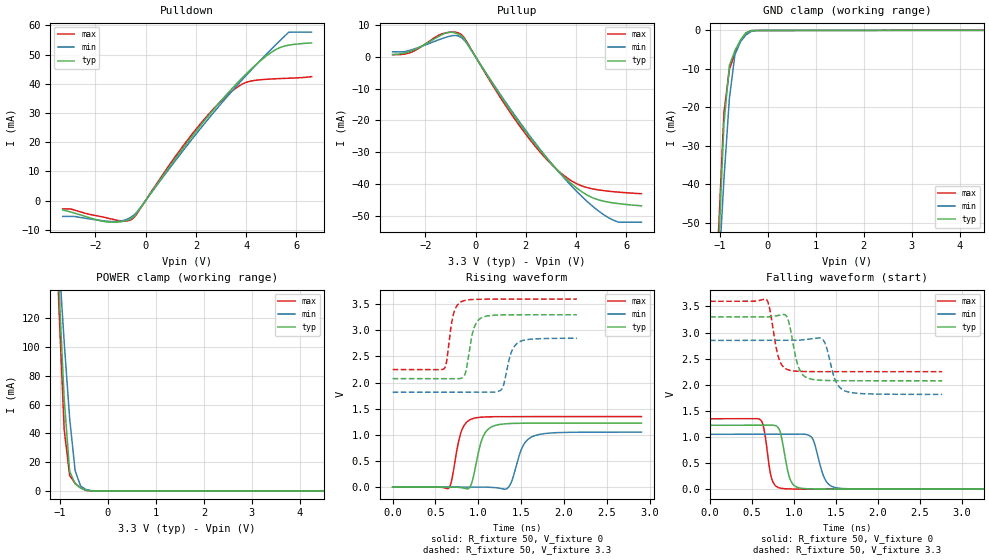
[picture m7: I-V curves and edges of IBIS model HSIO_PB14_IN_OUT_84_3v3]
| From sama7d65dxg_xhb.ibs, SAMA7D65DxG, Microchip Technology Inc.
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|   Model   HSIO_PB14_IN_OUT_100
[Model] HSIO_PB14_IN_OUT_84_3v3
Model_type I/O
Enable   Active-High
Vinl  =  0.99
Vinh  =  2.31
Vmeas =  1.650
| Capacitance   typ   min   max
C_comp   1.068321978062917e-12   1.016334733226081e-12   1.138611340369402e-12
| Variables   typ   min   max
[GND Clamp Reference]   0   0   0
[POWER Clamp Reference]   3.3   2.85   3.6
[Pulldown Reference]   0   0   0
[Pullup Reference]   3.3   2.85   3.6
[Temperature Range]   25   125   -40
[Voltage Range]   3.3   2.85   3.6
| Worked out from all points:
|   slope of the pulldown table from 0 to 0.495 V, typ, clamps not added: 81.2 ohm
|   slope of the pullup table from 0 to 0.495 V, typ, clamps not added: 79.4 ohm
|   GND clamp passes 1 mA (typ) near -0.47 V on its own axis
|   POWER clamp passes 1 mA (typ) near -0.50 V on its own axis
|   falling waveform, R_fixture 50, V_fixture 0: 20-80 % time 88.8ps typ, 112ps min, 72.7ps max; typ from 1.22 V to 0 V
|   falling waveform, R_fixture 50, V_fixture 3.3: 20-80 % time 98.7ps typ, 112ps min, 91.1ps max; typ from 3.3 V to 2.08 V
|   rising waveform, R_fixture 50, V_fixture 0: 20-80 % time 111ps typ, 131ps min, 99ps max; typ from 0 V to 1.22 V
|   rising waveform, R_fixture 50, V_fixture 3.3: 20-80 % time 84.8ps typ, 96.9ps min, 73.3ps max; typ from 2.08 V to 3.3 V
[GND Clamp]
| Voltage   I(typ)   I(min)   I(max)
-3.3V     -929.1mA   -542.5mA   -1.152A
-1.024V   -57.05mA   -64.05mA   -52.48mA
-910.3mV  -24.26mA   -38.73mA   -21.41mA
-796.6mV  -9.1mA     -17.67mA   -10.13mA
-682.8mV  -5.32mA    -6.383mA   -6.018mA
-569mV    -2.568mA   -3.041mA   -2.759mA
-455.2mV  -677.7uA   -1.206mA   -728.3uA
-341.4mV  -70.25uA   -271.9uA   -72.06uA
-113.8mV  -34.12uA   -25.48uA   -45.7uA
6.6V      0A         0A         0A
[POWER Clamp]
| Voltage   I(typ)   I(min)   I(max)
-3.3V     2.134A     1.237A     2.671A
-1.138V   234.7mA    225.9mA    258.9mA
-1.024V   144.5mA    163.2mA    130.8mA
-910.3mV  63.72mA    103.5mA    42.5mA
-796.6mV  13.63mA    50.37mA    10.74mA
-682.8mV  4.957mA    14.13mA    5.284mA
-569mV    2.071mA    3.44mA     2.128mA
-455.2mV  359.6uA    975.1uA    378.6uA
-227.6mV  2.45uA     12.53uA    2.818uA
6.6V      0A         0A         0A
[Pulldown]
| Voltage   I(typ)   I(min)   I(max)
-3.3V     -3.196mA   -5.444mA   -2.846mA
-1.593V   -7.249mA   -7.024mA   -5.832mA
-1.024V   -7.291mA   -7.055mA   -6.916mA
-569mV    -6.154mA   -5.625mA   -6.522mA
-227.6mV  -2.789mA   -2.626mA   -2.972mA
1.934V    22.93mA    21.98mA    23.68mA
2.731V    31.43mA    30.41mA    31.68mA
3.528V    39.18mA    38.36mA    38.08mA
4.097V    44.18mA    43.75mA    40.72mA
4.893V    50.11mA    50.9mA     41.57mA
5.69V     53.2mA     57.62mA    41.88mA
6.6V      53.96mA    57.68mA    42.41mA
[Pullup]
| Voltage   I(typ)   I(min)   I(max)
-3.3V     682.8uA    1.569mA    678.6uA
-2.503V   1.976mA    2.304mA    1.608mA
-1.138V   7.592mA    6.24mA     7.564mA
-569mV    6.615mA    6.074mA    7.026mA
-341.4mV  4.372mA    4.144mA    4.638mA
1.707V    -20.48mA   -20mA      -21.23mA
2.503V    -28.8mA    -28.43mA   -29.37mA
3.3V      -36.01mA   -36.11mA   -35.91mA
4.324V    -42.93mA   -44.64mA   -40.87mA
5.234V    -45.63mA   -50.33mA   -42.22mA
5.69V     -46.17mA   -51.99mA   -42.57mA
6.6V      -46.86mA   -52.01mA   -43.06mA
[Ramp]
dV/dt_r   0.734279/0.110614n  0.630633/0.131317n  0.809199/98.9986p
dV/dt_f   0.734398/98.8111p  0.620515/0.112076n  0.809871/91.1505p
R_load = 50
[Falling Waveform]
R_fixture = 50
V_fixture = 0
V_fixture_min = 0
V_fixture_max = 0
| Time   V(typ)   V(min)   V(max)
0s        1.224V     1.051V     1.349V
604.1ps   1.224V     1.051V     1.323V
740.8ps   1.226V     1.051V     173.2mV
862.2ps   912.6mV    1.052V     12.71mV
940.9ps   254.7mV    1.052V     4.53mV
1.008ns   61.72mV    1.052V     2.353mV
1.215ns   4.569mV    984.3mV    1.094mV
1.374ns   1.602mV    178.4mV    599.5uV
1.551ns   1.013mV    15.94mV    499.9uV
7.02ns    21.19uV    460.3uV    480.7uV
[Falling Waveform]
R_fixture = 50
V_fixture = 3.3
V_fixture_min = 2.85
V_fixture_max = 3.6
| Time   V(typ)   V(min)   V(max)
0s        3.3V       2.85V      3.6V
674.2ps   3.299V     2.85V      3.633V
822.9ps   3.332V     2.85V      2.49V
946.9ps   3.149V     2.85V      2.277V
1.047ns   2.369V     2.853V     2.257V
1.161ns   2.13V      2.872V     2.252V
1.345ns   2.085V     2.866V     2.251V
1.495ns   2.079V     2.079V     2.251V
1.609ns   2.077V     1.882V     2.251V
2.767ns   2.076V     1.816V     2.251V
[Rising Waveform]
R_fixture = 50
V_fixture = 0
V_fixture_min = 0
V_fixture_max = 0
| Time   V(typ)   V(min)   V(max)
0s        43.38nV    375.3nV    166nV
656.7ps   -874.8uV   -437.4uV   -21.36mV
799ps     -11.55mV   -532.3uV   1.051V
936.1ps   149.9mV    -623.7uV   1.31V
1.047ns   930mV      -697.8uV   1.339V
1.196ns   1.179V     -12.59mV   1.347V
1.36ns    1.215V     10.51mV    1.347V
1.512ns   1.222V     757.1mV    1.348V
1.648ns   1.223V     976.5mV    1.348V
2.904ns   1.223V     1.051V     1.348V
[Rising Waveform]
R_fixture = 50
V_fixture = 3.3
V_fixture_min = 2.85
V_fixture_max = 3.6
| Time   V(typ)   V(min)   V(max)
0s        2.076V     1.816V     2.25V
604ps     2.076V     1.816V     2.271V
713.5ps   2.076V     1.816V     3.328V
817.1ps   2.096V     1.815V     3.56V
949.5ps   3.041V     1.815V     3.593V
1.047ns   3.249V     1.815V     3.597V
1.275ns   3.296V     1.876V     3.599V
1.392ns   3.298V     2.608V     3.599V
1.494ns   3.299V     2.793V     3.599V
2.151ns   3.299V     2.849V     3.6V
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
